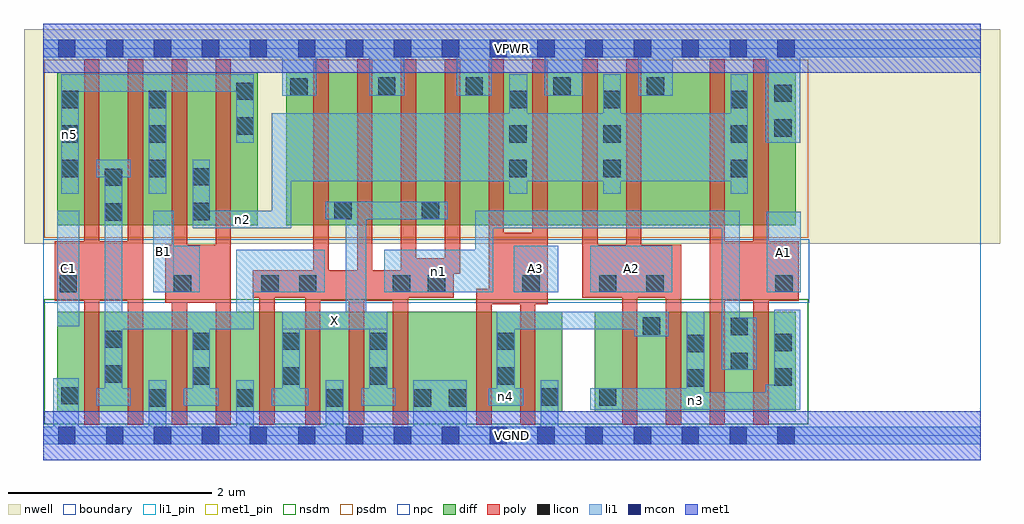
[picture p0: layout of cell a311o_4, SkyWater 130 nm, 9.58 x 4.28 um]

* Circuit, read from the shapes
.subckt a311o_4 A1 A2 A3 B1 C1 VGND VPWR X n1 n2 n3 n4 n5
XM1 n1 C1 VGND VSUBS sky130_fd_pr__nfet_01v8 w=0.98 l=0.15 m=2
XM2 n1 B1 VGND VSUBS sky130_fd_pr__nfet_01v8 w=0.98 l=0.15 m=2
XM3 X n1 VGND VSUBS sky130_fd_pr__nfet_01v8 w=0.98 l=0.15 m=4
XM4 n4 A3 VGND VSUBS sky130_fd_pr__nfet_01v8 w=0.98 l=0.15 m=2
XM5 n4 A2 n3 VSUBS sky130_fd_pr__nfet_01v8 w=0.98 l=0.15 m=2
XM6 n1 A1 n3 VSUBS sky130_fd_pr__nfet_01v8 w=0.98 l=0.15 m=2
XM7 n1 C1 n5 n6 sky130_fd_pr__pfet_01v8 w=1.5 l=0.15 m=2
XM8 n2 B1 n5 n6 sky130_fd_pr__pfet_01v8 w=1.5 l=0.15 m=2
XM9 X n1 VPWR n6 sky130_fd_pr__pfet_01v8 w=1.5 l=0.15 m=4
XM10 n2 A3 VPWR n6 sky130_fd_pr__pfet_01v8 w=1.5 l=0.15 m=2
XM11 n2 A2 VPWR n6 sky130_fd_pr__pfet_01v8 w=1.5 l=0.15 m=2
XM12 n2 A1 VPWR n6 sky130_fd_pr__pfet_01v8 w=1.5 l=0.15 m=2
.ends

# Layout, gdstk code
import gdstk
lib = gdstk.Library(unit=1e-6, precision=1e-09)
def R(c, l, rs):  # rectangles x0, y0, x1, y1
    for r in rs: c.add(gdstk.rectangle(r[:2], r[2:], *l))
def A(c, l, x, y, w, h, nx, ny, dx, dy):  # array of equal rectangles
    R(c, l, [(x+i*dx, y+j*dy, x+i*dx+w, y+j*dy+h) for i in range(nx) for j in range(ny)])
nwell = (64, 20)
diff = (65, 20)
poly = (66, 20)
licon = (66, 44)
li1_pin = (67, 16)
li1 = (67, 20)
mcon = (67, 44)
met1_pin = (68, 16)
met1 = (68, 20)
nsdm = (93, 44)
psdm = (94, 20)
npc = (95, 20)
boundary = (235, 4)

a311o_4 = lib.new_cell('a311o_4')
R(a311o_4, nwell, [(-0.19,1.885,9.39,3.99), (0,1.885,9.2,3.99)])
R(a311o_4, diff, [(0.135,0.235,5.095,1.215), (5.41,0.235,7.385,1.215), (0.135,2.065,2.105,3.565), (2.385,2.065,7.385,3.565)])
A(a311o_4, poly, 0.4, 0.105, 0.15, 3.59, 4, 1, 0.43, 0)
A(a311o_4, poly, 2.57, 0.105, 0.15, 1.52, 3, 1, 0.43, 0)
R(a311o_4, poly, [(2.12,0.105,2.27,1.625), (4.25,0.105,4.4,1.44), (4.68,0.105,4.83,1.99), (5.68,0.105,5.83,1.875), (6.11,0.105,6.26,1.875), (6.54,0.105,6.69,3.695), (6.97,0.105,7.12,3.695), (4.37,1.29,4.95,1.99), (4.37,1.29,4.52,3.695), (4.8,1.29,4.95,3.695), (1.195,1.305,1.84,1.875), (0.11,1.325,0.98,1.905), (2.57,1.325,3.58,1.625), (2.65,1.325,2.8,3.695), (3.08,1.325,3.23,3.695), (6.54,1.325,7.415,1.905), (2.055,1.355,4.03,1.625), (3.51,1.355,3.66,3.695), (5.29,1.355,5.44,3.695), (5.29,1.355,6.26,1.875), (5.72,1.355,5.87,3.695), (3.51,1.59,4.09,1.74), (3.94,1.74,4.09,3.695)])
A(a311o_4, licon, 0.175, 2.535, 0.17, 0.17, 1, 3, 0, 0.34)
A(a311o_4, licon, 1.035, 2.535, 0.17, 0.17, 1, 3, 0, 0.34)
A(a311o_4, licon, 4.575, 2.535, 0.17, 0.17, 1, 3, 0, 0.34)
A(a311o_4, licon, 5.495, 2.535, 0.17, 0.17, 1, 3, 0, 0.34)
A(a311o_4, licon, 6.745, 2.535, 0.17, 0.17, 1, 3, 0, 0.34)
A(a311o_4, licon, 3.285, 3.345, 0.17, 0.17, 3, 1, 0.86, 0)
R(a311o_4, licon, [(1.035,0.285,1.205,0.455), (1.895,0.285,2.065,0.455), (2.775,0.285,2.945,0.455), (3.635,0.285,3.805,0.455), (3.98,0.285,4.15,0.455), (4.885,0.295,5.055,0.465), (5.455,0.295,5.625,0.465), (0.175,0.305,0.345,0.475), (6.315,0.48,6.485,0.65), (7.175,0.49,7.345,0.66), (1.465,0.5,1.635,0.67), (2.345,0.5,2.515,0.67), (3.205,0.5,3.375,0.67), (4.455,0.5,4.625,0.67), (0.605,0.52,0.775,0.69), (6.745,0.645,6.915,0.815), (6.315,0.82,6.485,0.99), (7.175,0.83,7.345,1), (1.465,0.84,1.635,1.01), (2.345,0.84,2.515,1.01), (3.205,0.84,3.375,1.01), (4.455,0.84,4.625,1.01), (0.605,0.86,0.775,1.03), (6.745,0.985,6.915,1.155), (5.885,0.99,6.055,1.16), (0.16,1.405,0.33,1.575), (1.28,1.405,1.45,1.575), (2.14,1.405,2.31,1.575), (2.51,1.405,2.68,1.575), (3.43,1.405,3.6,1.575), (3.775,1.405,3.945,1.575), (4.7,1.405,4.87,1.575), (5.455,1.405,5.625,1.575), (5.92,1.405,6.09,1.575), (7.185,1.405,7.355,1.575), (0.605,2.11,0.775,2.28), (1.465,2.115,1.635,2.285), (2.855,2.125,3.025,2.295), (3.715,2.125,3.885,2.295), (0.605,2.45,0.775,2.62), (1.465,2.455,1.635,2.625), (7.175,2.935,7.345,3.105), (1.895,2.955,2.065,3.125), (7.175,3.275,7.345,3.445), (1.895,3.295,2.065,3.465), (2.425,3.335,2.595,3.505), (5.925,3.345,6.095,3.515)])
R(a311o_4, li1_pin, [(2.345,1.045,3.375,1.215), (0.135,1.075,0.35,2.205), (1.08,1.405,1.28,2.205), (4.615,1.405,5.055,1.865), (5.37,1.405,6.175,1.865), (7.1,1.405,7.435,2.195)])
R(a311o_4, li1, [(0,-0.085,9.2,0.085), (0.095,-0.085,0.345,0.565), (1.035,-0.085,1.205,0.545), (1.895,-0.085,2.065,0.545), (2.77,-0.085,2.945,0.545), (3.63,-0.085,4.155,0.545), (4.88,-0.085,5.055,0.545), (5.37,0.255,7.43,0.425), (5.37,0.255,6.485,0.465), (6.315,0.255,6.485,1.215), (7.09,0.255,7.43,0.5), (7.175,0.255,7.43,1.235), (0.52,0.295,0.86,0.465), (0.605,0.295,0.775,2.705), (1.38,0.295,1.72,0.465), (1.465,0.295,1.635,1.215), (2.24,0.295,2.6,0.465), (2.345,0.295,2.515,1.215), (3.12,0.295,3.46,0.465), (3.2,0.295,3.375,1.215), (4.37,0.295,4.71,0.465), (4.45,0.295,4.625,1.215), (6.66,0.645,6.835,2.205), (6.66,0.645,7,1.155), (5.8,0.975,6.14,1.215), (0.605,1.045,2.065,1.215), (1.895,1.045,2.065,1.825), (2.345,1.045,3.375,1.215), (2.97,1.045,3.17,2.295), (4.45,1.045,6.14,1.215), (0.135,1.075,0.35,2.205), (1.08,1.405,1.28,2.205), (1.08,1.405,1.535,1.865), (1.895,1.405,2.76,1.825), (3.345,1.405,4.415,1.825), (4.24,1.405,4.415,2.205), (4.615,1.405,5.055,1.865), (5.37,1.405,6.175,1.865), (7.1,1.405,7.435,2.195), (1.465,2.035,1.635,2.705), (1.465,2.035,2.435,2.205), (2.24,2.035,2.435,3.165), (4.24,2.035,6.835,2.205), (2.77,2.125,3.97,2.295), (0.175,2.375,0.345,3.545), (1.035,2.375,1.205,3.545), (4.575,2.375,4.75,3.545), (5.495,2.375,5.665,3.545), (6.745,2.375,6.915,3.545), (2.24,2.495,6.915,3.165), (0.52,2.535,0.86,2.705), (1.895,2.875,2.065,3.545), (7.09,2.875,7.43,3.885), (2.345,3.335,2.68,3.885), (3.2,3.335,3.54,3.885), (4.06,3.335,4.4,3.885), (4.92,3.335,5.29,3.885), (5.84,3.335,6.18,3.885), (0.175,3.375,2.065,3.545), (0,3.715,9.2,3.885)])
A(a311o_4, mcon, 0.145, -0.085, 0.17, 0.17, 5, 2, 0.47, 3.8)
A(a311o_4, mcon, 2.5, -0.085, 0.17, 0.17, 7, 2, 0.47, 3.8)
A(a311o_4, mcon, 5.795, -0.085, 0.17, 0.17, 4, 2, 0.47, 3.8)
R(a311o_4, met1_pin, [(0,-0.24,9.2,0.24), (0,3.56,9.2,4.04)])
R(a311o_4, met1, [(0,-0.24,9.2,0.24), (0,3.56,9.2,4.04)])
R(a311o_4, nsdm, [(0.01,0.11,7.51,1.34)])
R(a311o_4, psdm, [(0.01,1.94,7.51,3.69)])
R(a311o_4, npc, [(0,1.305,7.52,1.925)])
R(a311o_4, boundary, [(0,0,9.2,3.8)])
a311o_4.add(gdstk.Label('A1', (7.267,1.8), layer=67, texttype=5))
a311o_4.add(gdstk.Label('A2', (5.772,1.635), layer=67, texttype=5))
a311o_4.add(gdstk.Label('A3', (4.835,1.635), layer=67, texttype=5))
a311o_4.add(gdstk.Label('B1', (1.18,1.805), layer=67, texttype=5))
a311o_4.add(gdstk.Label('C1', (0.242,1.64), layer=67, texttype=5))
a311o_4.add(gdstk.Label('X', (2.86,1.13), layer=67, texttype=5))
a311o_4.add(gdstk.Label('n4', (4.54,0.38), layer=67, texttype=5))
a311o_4.add(gdstk.Label('n3', (6.4,0.34), layer=67, texttype=5))
a311o_4.add(gdstk.Label('n1', (3.88,1.615), layer=67, texttype=5))
a311o_4.add(gdstk.Label('n5', (0.26,2.96), layer=67, texttype=5))
a311o_4.add(gdstk.Label('n2', (1.95,2.12), layer=67, texttype=5))
a311o_4.add(gdstk.Label('VPWR', (4.6,3.8), layer=68, texttype=5))
a311o_4.add(gdstk.Label('VGND', (4.6,0), layer=68, texttype=5))
a311o_4.add(gdstk.Label('A1', (7.267,1.8), layer=67, texttype=16))
a311o_4.add(gdstk.Label('A2', (5.772,1.635), layer=67, texttype=16))
a311o_4.add(gdstk.Label('A3', (4.835,1.635), layer=67, texttype=16))
a311o_4.add(gdstk.Label('B1', (1.18,1.805), layer=67, texttype=16))
a311o_4.add(gdstk.Label('C1', (0.242,1.64), layer=67, texttype=16))
a311o_4.add(gdstk.Label('X', (2.86,1.13), layer=67, texttype=16))
a311o_4.add(gdstk.Label('VPWR', (4.6,3.8), layer=68, texttype=16))
a311o_4.add(gdstk.Label('VGND', (4.6,0), layer=68, texttype=16))

lib.write_gds('a311o_4.gds')
